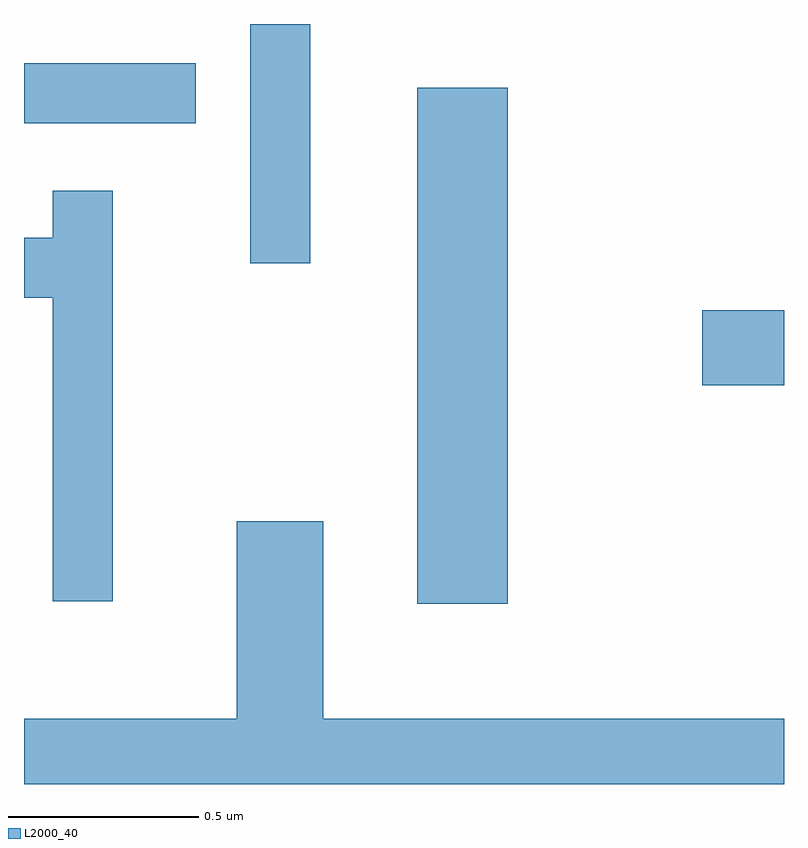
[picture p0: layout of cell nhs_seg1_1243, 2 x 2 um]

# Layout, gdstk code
import gdstk
lib = gdstk.Library(unit=1e-6, precision=1e-09)
def R(c, l, rs):  # rectangles x0, y0, x1, y1
    for r in rs: c.add(gdstk.rectangle(r[:2], r[2:], *l))
def P(c, l, *ps):  # polygons
    for p in ps: c.add(gdstk.Polygon(p, *l))
L2000_40 = (2000, 40)

nhs_seg1_1243 = lib.new_cell('nhs_seg1_1243')
R(nhs_seg1_1243, L2000_40, [(195.646,860.186,195.884,861.544), (196.396,860.761,196.611,860.959), (195.206,861.083,195.364,861.712), (194.611,861.451,195.063,861.609)])
P(nhs_seg1_1243, L2000_40, [(194.844,861.273),(194.686,861.273),(194.686,861.149),(194.611,861.149),(194.611,860.991),(194.686,860.991),(194.686,860.193),(194.844,860.193)],
  [(196.611,859.884),(195.399,859.884),(195.399,860.404),(195.171,860.404),(195.171,859.884),(194.611,859.884),(194.611,859.712),(196.611,859.712)])

lib.write_gds('nhs_seg1_1243.gds')
